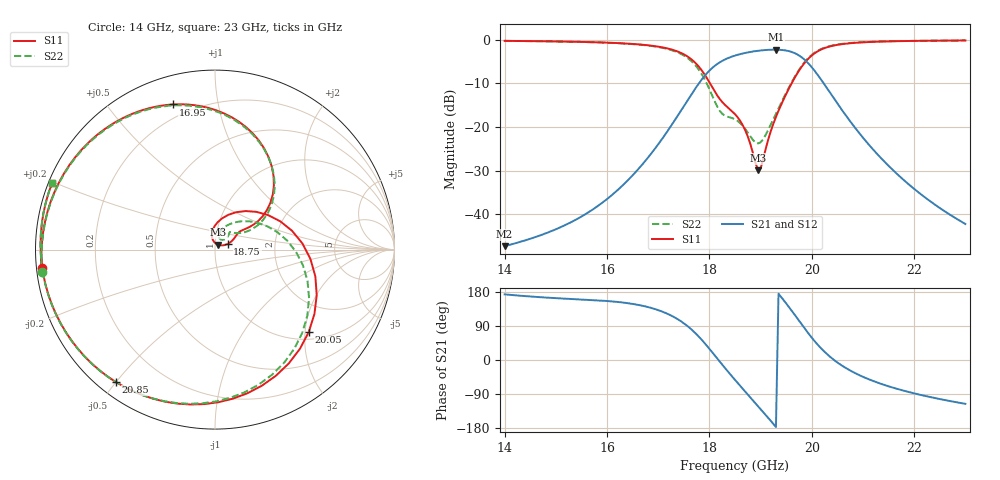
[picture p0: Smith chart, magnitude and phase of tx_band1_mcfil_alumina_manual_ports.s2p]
! Touchstone file exported from HFSS 3D Layout Design 2026.1.0
!  File:  D:/Work/SIM/ADS_AUTO_SIM/projects/RFSOC_RF/TX_Fillter.aedt
!  Generated:  09:15:47 PM Aug 30, 2026
!  Design:  TX_BAND1_MCFIL_ALUMINA_BB_14_23G
!  Project:  TX_Fillter
# GHz S MA R 50.000000
! Terminal data exported
! Port[1] = Port1
! Port[2] = Port2
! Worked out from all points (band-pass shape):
!   181 points, 14 GHz to 23 GHz, reference 50 ohm
!   highest |S21| = -2.28 dB at 19.3 GHz (marker M1); lowest = -47.3 dB at 14 GHz (marker M2)
!   |S21| within 3 dB of the highest: 18.19 GHz to 19.92 GHz (1.731 GHz wide, 9.08 % of centre)
!   lowest |S11| = -29.9 dB at 18.95 GHz (marker M3), VSWR 1.07, Z = 51.7 + j2.77 ohm
!   |S11| at or under -10 dB: 18.01 GHz to 19.61 GHz (1.595 GHz wide, 8.48 % of centre)
!   |S22| runs from -23.8 to -0.2 dB; largest |S21 - S12| = 3.5e-15
!   S11 on the Smith chart (normalised r, x): 14 GHz: 0.02, -0.05; 16.95 GHz: 0.13, +0.74; 18.75 GHz: 1.15, +0.07; 20.05 GHz: 1.17, -2.09; 20.85 GHz: 0.05, -0.50; 23 GHz: 0.01, +0.20
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14  0.9703 -173.9  0.004298 173.2  0.004298 173.2  0.97 -172.7
15.5  0.9442 154.9  0.009389 159.7  0.009389 159.7  0.943 155.8
16.3  0.9095 132.2  0.02123 151.8  0.02123 151.8  0.9065 132.6
16.95  0.8418 106.1  0.05772 133.9  0.05772 133.9  0.8342 105.6
17  0.8331 103.6  0.06322 131.6  0.06322 131.6  0.8249 102.9
17.3  0.7604 86.2  0.1137 114.0  0.1137 114.0  0.7463 84.6
17.6  0.6263 64.0  0.2139 86.5  0.2139 86.5  0.6007 60.8
17.9  0.4041 40.2  0.3805 45.7  0.3805 45.7  0.358 34.7
18.2  0.2099 34.0  0.5497 -3.8  0.5497 -3.8  0.1537 36.5
18.5  0.1402 33.3  0.658 -52.5  0.658 -52.5  0.1224 49.4
18.75  0.07765 24.0  0.7155 -91.1  0.7155 -91.1  0.08605 45.2
18.95  0.032 56.6  0.7468 -121.7  0.7468 -121.7  0.06468 61.2
19.3  0.1303 91.1  0.7691 -176.8  0.7691 -176.8  0.1422 65.6
19.5  0.2389 60.6  0.7513 149.3  0.7513 149.3  0.2466 39.7
19.7  0.3963 23.4  0.6864 113.1  0.6864 113.1  0.4052 7.1
20  0.66 -32.9  0.4829 58.7  0.4829 58.7  0.6713 -43.6
20.05  0.6956 -41.4  0.4442 50.5  0.4442 50.5  0.7069 -51.2
20.2  0.7803 -64.2  0.3366 28.1  0.3366 28.1  0.7908 -72.1
20.4  0.8507 -88.8  0.2265 3.7  0.2265 3.7  0.8594 -94.8
20.85  0.9215 -126.8  0.09704 -34.9  0.09704 -34.9  0.9265 -130.0
21.5  0.9574 -159.8  0.03581 -69.4  0.03581 -69.4  0.9596 -161.2
23  0.9805 157.6  0.00772 -115.7  0.00772 -115.7  0.9807 157.8
